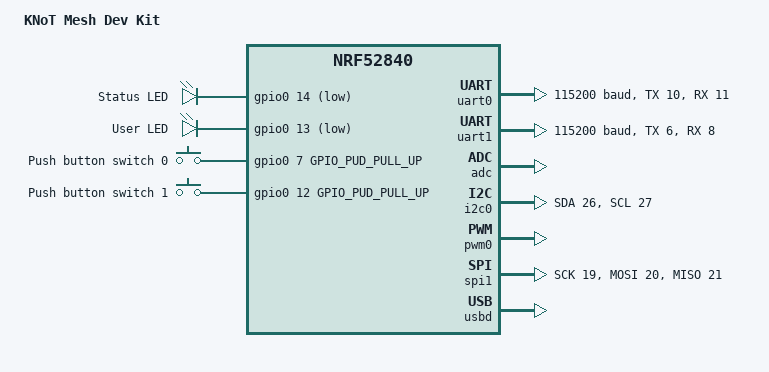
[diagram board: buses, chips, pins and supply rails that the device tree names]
/*
 * Code based on nrf52840_pca10059.
 * Base commit: c616f215b0e04376d80320e32988eb763738a65b
 * Edited by KNoT contributors.
 */

/*
 * Copyright (c) 2019 CESAR
 * Copyright (c) 2018 Nordic Semiconductor ASA
 * Copyright (c) 2017 Linaro Limited
 *
 * SPDX-License-Identifier: Apache-2.0
 */

/dts-v1/;
#include <nordic/nrf52840_qiaa.dtsi>

/ {
	model = "KNoT Mesh Dev Kit";
	compatible = "nordic,nrf52840-qiaa", "nordic,nrf52840";

	chosen {
		zephyr,console = &uart0;
		zephyr,shell-uart = &uart0;
		zephyr,uart-mcumgr = &uart0;
		zephyr,bt-mon-uart = &uart0;
		zephyr,sram = &sram0;
		zephyr,flash = &flash0;
		zephyr,code-partition = &slot0_partition;
	};

	leds {
		compatible = "gpio-leds";
		led0: led_0 {
			gpios = <&gpio0 14 GPIO_INT_ACTIVE_LOW>;
			label = "Status LED";
		};
		led1: led_1 {
			gpios = <&gpio0 13 GPIO_INT_ACTIVE_LOW>;
			label = "User LED";
		};
	};

	buttons {
		compatible = "gpio-keys";
		button0: button_0 {
			gpios = <&gpio0 7 GPIO_PUD_PULL_UP>;
			label = "Push button switch 0";
		};
		button1: button_1 {
			gpios = <&gpio0 12 GPIO_PUD_PULL_UP>;
			label = "Push button switch 1";
		};
	};

	/* These aliases are provided for compatibility with samples */
	aliases {
		sw0 = &button0;
		sw1 = &button1;
		led0 = &led0;
		led1 = &led1;
		status-led = &led0;
		user-led = &led1;
	};
};

&gpiote {
	status ="ok";
};

&gpio0 {
	status ="ok";
};

&gpio1 {
	status ="ok";
};

&uart0 {
	compatible = "nordic,nrf-uarte";
	current-speed = <115200>;
	status = "ok";
	tx-pin = <10>;
	rx-pin = <11>;
};

&uart1 {
	compatible = "nordic,nrf-uarte";
	current-speed = <115200>;
	status = "ok";
	tx-pin = <6>;
	rx-pin = <8>;
	rts-pin = <43>;
	cts-pin = <44>;
};

&adc {
	status ="ok";
};

&i2c0 {
	status = "ok";
	sda-pin = <26>;
	scl-pin = <27>;
};

&pwm0 {
	status = "ok";
	ch1-pin = <42>;
	ch1-inverted;
};

/*
 * By default, not adding all available SPI instances (spi0, spi2, spi3) due to
 * pins not defined for mesh board.
 */
&spi1 {
	status = "ok";
	sck-pin = <19>;
	mosi-pin = <20>;
	miso-pin = <21>;
};

/* Include flash partition table.
 * Two partition tables are available:
 * fstab-stock		-compatible with Nordic nRF5 bootloader, default
 * fstab-debugger	-to use an external debugger, w/o the nRF5 bootloader
 */
#include "fstab-stock.dts"

&usbd {
	compatible = "nordic,nrf-usbd";
	status = "ok";
};
